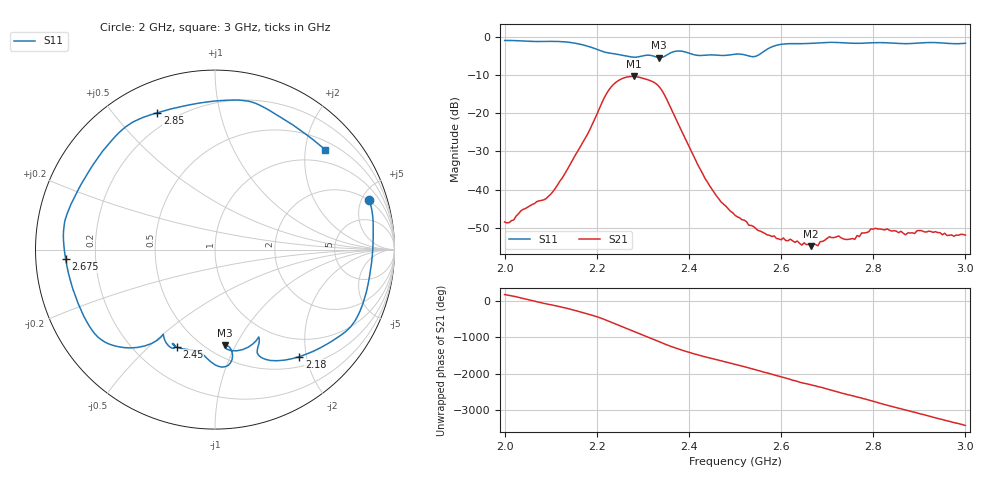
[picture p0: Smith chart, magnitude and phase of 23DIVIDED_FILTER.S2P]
!Agilent Technologies,E5071C,MY46107443,A.09.30
!Date: Wed Jun 12 17:43:18 2013
!Data & Calibration Information:
!Freq	S11:SOLT1(ON)	S21:NONE(--)	S12:NONE(--)	S22:NONE(--)
# Hz S dB R 50
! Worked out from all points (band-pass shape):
!   201 points, 2 GHz to 3 GHz, reference 50 ohm
!   highest |S21| = -10.35 dB at 2.28 GHz (marker M1); lowest = -54.8 dB at 2.665 GHz (marker M2)
!   |S21| within 3 dB of the highest: 2.229 GHz to 2.337 GHz (107.9 MHz wide, 4.73 % of centre)
!   lowest |S11| = -5.4 dB at 2.335 GHz (marker M3), VSWR 3.31, Z = 30.2 - j45.2 ohm
!   |S11| at or under -10 dB: nowhere
!   S12 and S22 are empty: the file has one direction only
!   S11 on the Smith chart (normalised r, x): 2 GHz: 1.95, +5.75; 2.18 GHz: 0.66, -1.88; 2.45 GHz: 0.37, -0.61; 2.675 GHz: 0.09, -0.03; 2.85 GHz: 0.14, +0.66; 3 GHz: 0.68, +2.43
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2e9  -0.90 17.8  -48.50 178.9  -200.00 0.0  -200.00 0.0
2.1e9  -1.14 -22.3  -41.24 -100.7  -200.00 0.0  -200.00 0.0
2.17e9  -2.06 -45.7  -27.54 40.1  -200.00 0.0  -200.00 0.0
2.18e9  -2.39 -51.7  -25.47 4.3  -200.00 0.0  -200.00 0.0
2.225e9  -4.16 -67.7  -14.09 169.2  -200.00 0.0  -200.00 0.0
2.245e9  -4.54 -66.2  -11.56 64.6  -200.00 0.0  -200.00 0.0
2.26e9  -4.87 -64.5  -10.67 -13.1  -200.00 0.0  -200.00 0.0
2.28e9  -5.28 -63.3  -10.35 -115.5  -200.00 0.0  -200.00 0.0
2.295e9  -5.07 -65.9  -10.64 168.6  -200.00 0.0  -200.00 0.0
2.31e9  -4.76 -74.6  -11.18 93.4  -200.00 0.0  -200.00 0.0
2.335e9  -5.42 -84.2  -12.96 -38.4  -200.00 0.0  -200.00 0.0
2.355e9  -4.49 -80.5  -17.12 -142.9  -200.00 0.0  -200.00 0.0
2.45e9  -4.68 -111.5  -39.92 -146.3  -200.00 0.0  -200.00 0.0
2.5e9  -4.50 -112.7  -46.73 55.3  -200.00 0.0  -200.00 0.0
2.6e9  -1.91 -140.2  -53.17 70.4  -200.00 0.0  -200.00 0.0
2.665e9  -1.65 -170.6  -54.84 -152.1  -200.00 0.0  -200.00 0.0
2.67e9  -1.62 -173.5  -54.15 -167.8  -200.00 0.0  -200.00 0.0
2.675e9  -1.58 -176.3  -54.42 -180.0  -200.00 0.0  -200.00 0.0
2.835e9  -1.53 118.7  -50.66 -9.5  -200.00 0.0  -200.00 0.0
2.85e9  -1.65 112.9  -50.91 -59.6  -200.00 0.0  -200.00 0.0
2.935e9  -1.46 74.5  -51.04 20.1  -200.00 0.0  -200.00 0.0
3e9  -1.63 42.1  -51.94 169.1  -200.00 0.0  -200.00 0.0
